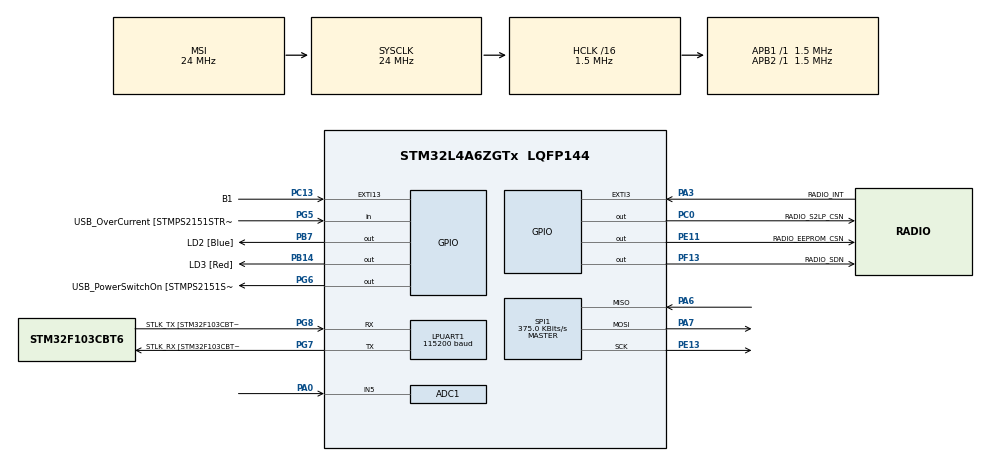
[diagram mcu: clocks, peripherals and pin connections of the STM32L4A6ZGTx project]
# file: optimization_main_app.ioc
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ADC1.Channel-0\#ChannelRegularConversion=ADC_CHANNEL_5
ADC1.ClockPrescaler=ADC_CLOCK_ASYNC_DIV10
ADC1.DMAContinuousRequests=ENABLE
ADC1.ExternalTrigConv=ADC_EXTERNALTRIG_T3_TRGO
ADC1.NbrOfConversionFlag=1
ADC1.OffsetNumber-0\#ChannelRegularConversion=ADC_OFFSET_NONE
ADC1.Rank-0\#ChannelRegularConversion=1
ADC1.SamplingTime-0\#ChannelRegularConversion=ADC_SAMPLETIME_2CYCLES_5
ADC1.master=1
AES.Data\ encryption\ types\ list=AESCBC
AES.DataType=CRYP_DATATYPE_8B
AES.KeyWriteFlag=CRYP_KEY_WRITE_ENABLE
AES.OperatingMode=CRYP_ALGOMODE_ENCRYPT
AES.pKey=00 00 00 00 00 00 00 00 00 00 00 00 00 00 00 00
Dma.ADC1.0.Direction=DMA_PERIPH_TO_MEMORY
Dma.ADC1.0.Instance=DMA1_Channel1
Dma.ADC1.0.MemDataAlignment=DMA_MDATAALIGN_HALFWORD
Dma.ADC1.0.MemInc=DMA_MINC_ENABLE
Dma.ADC1.0.Mode=DMA_CIRCULAR
Dma.ADC1.0.PeriphDataAlignment=DMA_PDATAALIGN_HALFWORD
Dma.ADC1.0.PeriphInc=DMA_PINC_DISABLE
Dma.ADC1.0.Priority=DMA_PRIORITY_LOW
Dma.Request0=ADC1
LPUART1.AutoBaudRateEnableParam=UART_ADVFEATURE_AUTOBAUDRATE_DISABLE
LPUART1.BaudRate=115200
LPUART1.DMADisableonRxErrorParam=UART_ADVFEATURE_DMA_ENABLEONRXERROR
LPUART1.DataInvertParam=UART_ADVFEATURE_DATAINV_DISABLE
LPUART1.MSBFirstParam=UART_ADVFEATURE_MSBFIRST_DISABLE
LPUART1.Mode=UART_MODE_TX_RX
LPUART1.OneBitSampling=UART_ONE_BIT_SAMPLE_DISABLE
LPUART1.OverrunDisableParam=UART_ADVFEATURE_OVERRUN_ENABLE
LPUART1.Parity=UART_PARITY_NONE
LPUART1.RxPinLevelInvertParam=UART_ADVFEATURE_RXINV_DISABLE
LPUART1.StopBits=UART_STOPBITS_1
LPUART1.SwapParam=UART_ADVFEATURE_SWAP_DISABLE
LPUART1.TxPinLevelInvertParam=UART_ADVFEATURE_TXINV_DISABLE
LPUART1.WordLength=UART_WORDLENGTH_8B
Mcu.Family=STM32L4
Mcu.Name=STM32L4A6ZGTx
Mcu.Package=LQFP144
NVIC.DMA1_Channel1_IRQn=true\:1\:0\:true\:false\:true\:false\:true\:true
NVIC.EXTI15_10_IRQn=true\:0\:0\:false\:false\:true\:true\:true\:true
NVIC.EXTI3_IRQn=true\:0\:0\:false\:false\:true\:true\:true\:true
NVIC.PriorityGroup=NVIC_PRIORITYGROUP_4
NVIC.TIM3_IRQn=true\:0\:0\:true\:false\:true\:true\:true\:true
PA0.Signal=ADCx_IN5
PA10.GPIO_Label=USB_ID
PA10.Signal=USB_OTG_FS_ID
PA11.GPIO_Label=USB_DM
PA11.Signal=USB_OTG_FS_DM
PA12.GPIO_Label=USB_DP
PA12.Signal=USB_OTG_FS_DP
PA13\ (JTMS/SWDIO).GPIO_Label=TMS
PA13\ (JTMS/SWDIO).Signal=SYS_JTMS-SWDIO
PA14\ (JTCK/SWCLK).GPIO_Label=TCK
PA14\ (JTCK/SWCLK).Signal=SYS_JTCK-SWCLK
PA3.GPIO_Label=RADIO_INT
PA3.GPIO_ModeDefaultEXTI=GPIO_MODE_IT_FALLING
PA3.Signal=GPXTI3
PA6.Mode=Full_Duplex_Master
PA6.Signal=SPI1_MISO
PA7.Mode=Full_Duplex_Master
PA7.Signal=SPI1_MOSI
PA8.GPIO_Label=USB_SOF [TP1]
PA8.Signal=USB_OTG_FS_SOF
PA9.GPIO_Label=USB_VBUS
PA9.Signal=USB_OTG_FS_VBUS
PB14.GPIO_Label=LD3 [Red]
PB14.Signal=GPIO_Output
PB3\ (JTDO/TRACESWO).GPIO_Label=SWO
PB3\ (JTDO/TRACESWO).Signal=SYS_JTDO-SWO
PB7.GPIO_Label=LD2 [Blue]
PB7.Signal=GPIO_Output
PC0.GPIO_Label=RADIO_S2LP_CSN
PC0.GPIO_Speed=GPIO_SPEED_FREQ_VERY_HIGH
PC0.PinState=GPIO_PIN_SET
PC0.Signal=GPIO_Output
PC13.GPIO_Label=B1
PC13.GPIO_ModeDefaultEXTI=GPIO_MODE_IT_RISING
PC13.Signal=GPXTI13
PC14-OSC32_IN\ (PC14).Mode=LSE-External-Oscillator
PC14-OSC32_IN\ (PC14).Signal=RCC_OSC32_IN
PC15-OSC32_OUT\ (PC15).Mode=LSE-External-Oscillator
PC15-OSC32_OUT\ (PC15).Signal=RCC_OSC32_OUT
PE11.GPIO_Label=RADIO_EEPROM_CSN
PE11.PinState=GPIO_PIN_SET
PE11.Signal=GPIO_Output
PE13.Mode=Full_Duplex_Master
PE13.Signal=SPI1_SCK
PF13.GPIO_Label=RADIO_SDN
PF13.PinState=GPIO_PIN_SET
PF13.Signal=GPIO_Output
PG5.GPIO_Label=USB_OverCurrent [STMPS2151STR_FAULT]
PG5.Signal=GPIO_Input
PG6.GPIO_Label=USB_PowerSwitchOn [STMPS2151STR_EN]
PG6.Signal=GPIO_Output
PG7.GPIO_Label=STLK_RX [STM32F103CBT6_PA3]
PG7.Mode=Asynchronous
PG7.Signal=LPUART1_TX
PG8.GPIO_Label=STLK_TX [STM32F103CBT6_PA2]
PG8.Mode=Asynchronous
PG8.Signal=LPUART1_RX
PH1-OSC_OUT\ (PH1).Signal=RCC_OSC_OUT
ProjectManager.HeapSize=0x200
ProjectManager.StackSize=0x400
ProjectManager.TargetToolchain=STM32CubeIDE
RCC.ADCCLockSelection=RCC_ADCCLKSOURCE_SYSCLK
RCC.ADCFreq_Value=24000000
RCC.AHBCLKDivider=RCC_SYSCLK_DIV16
RCC.AHBFreq_Value=1500000
RCC.APB1Freq_Value=1500000
RCC.APB1TimFreq_Value=1500000
RCC.APB2Freq_Value=1500000
RCC.APB2TimFreq_Value=1500000
RCC.CortexFreq_Value=1500000
RCC.FLatency=FLASH_LATENCY_0
RCC.HCLKFreq_Value=1500000
RCC.HSE_VALUE=8000000
RCC.HSI48_VALUE=48000000
RCC.HSI_VALUE=16000000
RCC.LPUART1CLockSelection=RCC_LPUART1CLKSOURCE_SYSCLK
RCC.MSIClockRange=RCC_MSIRANGE_9
RCC.MSI_VALUE=24000000
RCC.PLLN=24
RCC.PLLSAI1N=24
RCC.SYSCLKFreq_VALUE=24000000
RCC.USBFreq_Value=288000000
RCC.VCOOutputFreq_Value=576000000
RCC.VDD_VALUE=1.8
SH.ADCx_IN5.0=ADC1_IN5,IN5-Single-Ended
SPI1.BaudRatePrescaler=SPI_BAUDRATEPRESCALER_4
SPI1.CalculateBaudRate=375.0 KBits/s
SPI1.DataSize=SPI_DATASIZE_8BIT
SPI1.Direction=SPI_DIRECTION_2LINES
SPI1.Mode=SPI_MODE_MASTER
SPI1.VirtualType=VM_MASTER
TIM3.Period=195/48
TIM3.Prescaler=23
TIM3.TIM_MasterOutputTrigger=TIM_TRGO_UPDATE
VP_AES_VS_AES.Mode=AES_Activate
VP_SYS_VS_LPOM.Mode=PowerOptimisation
VP_TIM3_VS_ClockSourceINT.Mode=Internal
board=NUCLEO-L4A6ZG

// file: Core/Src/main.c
/* USER CODE BEGIN Header */
/**
  ******************************************************************************
  * @file           : main.c
  * @brief          : Main program body
  ******************************************************************************
  * @attention
  *
  * <h2><center>&copy; Copyright (c) 2021 STMicroelectronics.
  * All rights reserved.</center></h2>
  *
  * This software component is licensed by ST under BSD 3-Clause license,
  * the "License"; You may not use this file except in compliance with the
  * License. You may obtain a copy of the License at:
  *                        opensource.org/licenses/BSD-3-Clause
  *
  ******************************************************************************
  */
/* USER CODE END Header */
#include "main.h"
#include "adc.h"
#include "aes.h"
#include "dma.h"
#include "spi.h"
#include "tim.h"
#include "gpio.h"

/* USER CODE BEGIN Includes */
#include <stdio.h>
#include <string.h>
#include "arm_math.h"
#include "adc_dblbuf.h"
#include "retarget.h"
#include "s2lp.h"
#include "spectrogram.h"
#include "eval_radio.h"
#include "packet.h"
#include "config.h"
#include "utils.h"
#include "usart.h"

/* USER CODE END Includes */

/* USER CODE BEGIN PV */

volatile uint8_t btn_press;

/* USER CODE END PV */

void SystemClock_Config(void);

/* USER CODE BEGIN 0 */

void HAL_GPIO_EXTI_Callback(uint16_t GPIO_Pin)
{
	if (GPIO_Pin == B1_Pin) {
		btn_press = 1;
	}
	else if (GPIO_Pin == RADIO_INT_Pin)
		S2LP_IRQ_Handler();
}

static void acquire_and_send_packet() {
	if (StartADCAcq(N_MELVECS) != HAL_OK) {
		DEBUG_PRINT("Error while enabling the DMA\r\n");
	}
	while (!IsADCFinished()) {
		__WFI();
	}
}

void run(void)
{
	btn_press = 0;

  // Initialize the S2LP to the sleep mode if configured
  #if NO_S2LP_SLEEP == 0
    S2LP_Sleep();
  #endif

	while (1)
	{
    // If NO_BUTTON is set, we acquire and send the packet directly and continuously
    // Otherwise, we wait for the button press to acquire and send the packet
    #if NO_BUTTON == 1
      acquire_and_send_packet();
    #else
      // Wait for the button press
      while (!btn_press) {
        HAL_GPIO_WritePin(GPIOB, LD2_Pin, GPIO_PIN_SET);
        HAL_Delay(200);
        HAL_GPIO_WritePin(GPIOB, LD2_Pin, GPIO_PIN_RESET);
        HAL_Delay(200);
      }
      btn_press = 0;
      #if (CONTINUOUS_ACQ == 1)
        // Continuous acquisition while the button is not pressed
        while (!btn_press) {
          acquire_and_send_packet();
        }
        btn_press = 0;
      #else
        // Single packet acquisition, then go back to waiting for the button press
        acquire_and_send_packet();
      #endif
    #endif
	}
}

/* USER CODE END 0 */

int main(void)
{

  /* MCU Configuration--------------------------------------------------------*/

  /* Reset of all peripherals, Initializes the Flash interface and the Systick. */
  HAL_Init();

  /* Configure the system clock */
  SystemClock_Config();

  /* Initialize all configured peripherals */
  MX_GPIO_Init();
  MX_DMA_Init();
  MX_SPI1_Init();
  MX_TIM3_Init();
  MX_ADC1_Init();
  MX_AES_Init();
  /* USER CODE BEGIN 2 */

  if (ENABLE_UART) {
	  MX_LPUART1_UART_Init();
  }

  RetargetInit(&hlpuart1);
  DEBUG_PRINT("Hello world\r\n");

#if ENABLE_RADIO
  // Enable S2LP Radio
  HAL_StatusTypeDef err = S2LP_Init(&hspi1);
  if (err)  {
	  DEBUG_PRINT("[S2LP] Error while initializing: %u\r\n", err);
	  Error_Handler();
  } else {
	  DEBUG_PRINT("[S2LP] Init OK\r\n");
  }
#endif

  if (HAL_ADCEx_Calibration_Start(&hadc1, ADC_SINGLE_ENDED) != HAL_OK) {
	  DEBUG_PRINT("Error while calibrating the ADC\r\n");
	  Error_Handler();
  }
  if (HAL_TIM_Base_Start(&htim3) != HAL_OK) {
	  DEBUG_PRINT("Error while enabling timer TIM3\r\n");
	  Error_Handler();
  }
  /* USER CODE END 2 */

  /* Infinite loop */
  /* USER CODE BEGIN WHILE */
#if (RUN_CONFIG == MAIN_APP)
  run();
#elif (RUN_CONFIG == EVAL_RADIO)
  eval_radio();
#else
#error "Wrong value for RUN_CONFIG."
#endif

    /* USER CODE END WHILE */

}

void SystemClock_Config(void)
{
  RCC_OscInitTypeDef RCC_OscInitStruct = {0};
  RCC_ClkInitTypeDef RCC_ClkInitStruct = {0};

  /** Configure the main internal regulator output voltage
  */
  if (HAL_PWREx_ControlVoltageScaling(PWR_REGULATOR_VOLTAGE_SCALE1) != HAL_OK)
  {
    Error_Handler();
  }

  /** Initializes the RCC Oscillators according to the specified parameters
  * in the RCC_OscInitTypeDef structure.
  */
  RCC_OscInitStruct.OscillatorType = RCC_OSCILLATORTYPE_MSI;
  RCC_OscInitStruct.MSIState = RCC_MSI_ON;
  RCC_OscInitStruct.MSICalibrationValue = 0;
  RCC_OscInitStruct.MSIClockRange = RCC_MSIRANGE_9;
  RCC_OscInitStruct.PLL.PLLState = RCC_PLL_NONE;
  if (HAL_RCC_OscConfig(&RCC_OscInitStruct) != HAL_OK)
  {
    Error_Handler();
  }

  /** Initializes the CPU, AHB and APB buses clocks
  */
  RCC_ClkInitStruct.ClockType = RCC_CLOCKTYPE_HCLK|RCC_CLOCKTYPE_SYSCLK
                              |RCC_CLOCKTYPE_PCLK1|RCC_CLOCKTYPE_PCLK2;
  RCC_ClkInitStruct.SYSCLKSource = RCC_SYSCLKSOURCE_MSI;
  RCC_ClkInitStruct.AHBCLKDivider = RCC_SYSCLK_DIV16;
  RCC_ClkInitStruct.APB1CLKDivider = RCC_HCLK_DIV1;
  RCC_ClkInitStruct.APB2CLKDivider = RCC_HCLK_DIV1;

  if (HAL_RCC_ClockConfig(&RCC_ClkInitStruct, FLASH_LATENCY_0) != HAL_OK)
  {
    Error_Handler();
  }
}

void Error_Handler(void)
{
  /* USER CODE BEGIN Error_Handler_Debug */
  __disable_irq();
  DEBUG_PRINT("Entering error Handler\r\n");
  while (1)
  {
	  // Blink LED3 (red)
	  HAL_GPIO_WritePin(GPIOB, LD3_Pin, GPIO_PIN_SET);
	  for (volatile int i=0; i < SystemCoreClock/200; i++);
	  HAL_GPIO_WritePin(GPIOB, LD3_Pin, GPIO_PIN_RESET);
	  for (volatile int i=0; i < SystemCoreClock/200; i++);
  }
  /* USER CODE END Error_Handler_Debug */
}

#ifdef  USE_FULL_ASSERT
/**
  * @brief  Reports the name of the source file and the source line number
  *         where the assert_param error has occurred.
  * @param  file: pointer to the source file name
  * @param  line: assert_param error line source number
  * @retval None
  */
void assert_failed(uint8_t *file, uint32_t line)
{
  /* USER CODE BEGIN 6 */
  /* User can add his own implementation to report the file name and line number,
     ex: DEBUG_PRINT("Wrong parameters value: file %s on line %d\r\n", file, line) */
  /* USER CODE END 6 */
}
#endif /* USE_FULL_ASSERT */
